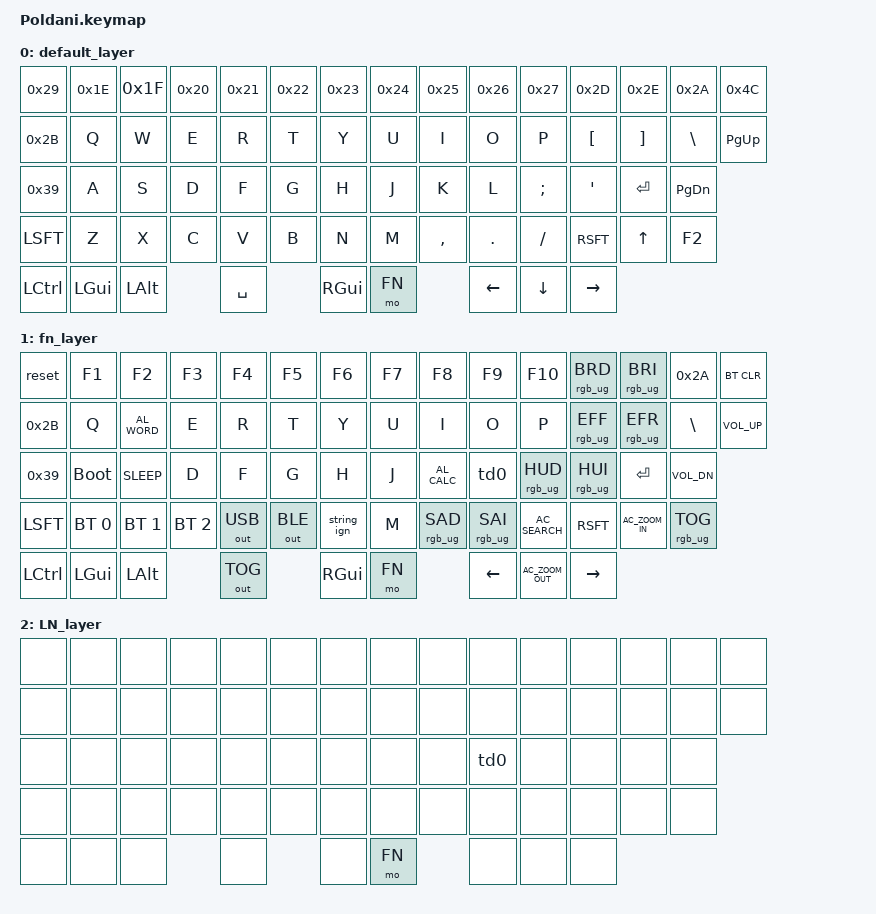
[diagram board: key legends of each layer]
 #include <behaviors.dtsi>
#include <dt-bindings/zmk/keys.h>
#include <dt-bindings/zmk/bt.h>
#include <dt-bindings/zmk/outputs.h>
#include <dt-bindings/zmk/rgb.h>
#include <dt-bindings/zmk/ext_power.h>

#define DEFAULT 0
#define FN 1
#define LN 2
/ {
	behaviors {
        td0: tap_dance_0 {
            compatible = "zmk,behavior-tap-dance";
            label = "TAP_DANCE_0";
            #binding-cells = <0>;
            tapping-term-ms = <200>;
            bindings = <&none>, <&none>, <&tog LN>;
        };
		ZMK_MACRO(string_ign,
			wait-ms = <10>;
			tap-ms = <1>;
			bindings = <&kp N &kp TAB &kp N &kp TAB &kp N &kp TAB &kp N &kp TAB &kp N &kp TAB>;
			)
    };
	
	keymap {
		compatible = "zmk,keymap";
		default_layer {
// ------------------------------------------------------------------------------------------
// | ESC |  1  |  2  |  3  |  4  |  5  |  6  |  7  |  8  |  9  |  0  |  -  |  =  | BKSP |  DEL |
// |RALT/TAB| Q |  W  |  E  |  R  |  T  |  Y  |  U  |  I  |  O  |  P  |  [  |  ]  |  \  |  PGUP  |
// | CAPS  |  A  |  S  |  D  |  F  |  G  |  H  |  J  |  K  |  L  |  ;  |  '  |  ENTER  |  PGDN  |
// | SHIFT | Z |  X  |  C  |  V  |  B  |  N  |  M  |  ,  |  .  |  /  |    Shift   | UP |  END  |
// |  LCTL  |  LWIN  |  LALT  |  SPACE  |  RWIN | FN | LEFT |  DOWN  |  RIGHT  |
// ------------------------------------------------------------------------------------------- 
			bindings = <
	&kp 0x29	 &kp 0x1E 	&kp 0x1F	&kp 0x20 	&kp 0x21  &kp 0x22  &kp 0x23 	&kp 0x24 	&kp 0x25  &kp 0x26	&kp 0x27	&kp 0x2D	&kp 0x2E  	&kp 0x2A	&kp 0x4C
	&kp 0x2B     &kp   Q   	&kp   W   	&kp   E   	&kp   R   &kp   T   &kp   Y   	&kp   U   	&kp   I   &kp   O   &kp   P   	&kp LBKT 	&kp RBKT	&kp BSLH    &kp PG_UP
	&kp 0x39 	 &kp   A   	&kp   S   	&kp   D   	&kp   F   &kp   G   &kp   H   	&kp   J   	&kp   K   &kp   L   &kp  SCLN  	&kp  QUOT   &kp RET		&kp PG_DN
	&kp LSFT 	 &kp   Z   	&kp   X   	&kp   C     &kp   V   &kp   B   &kp   N   	&kp   M     &kp  CMMA &kp  DOT  &kp  FSLH	&kp RSFT 	&kp UP      &kp F2
	&kp LCTL 	 &kp LGUI   &kp LALT				&kp SPC			    &kp RGUI	&mo  FN  			  &kp  LEFT	&kp  DOWN 	&kp RIGHT			
			>;
		};
		
		fn_layer {
// Function layer
// ------------------------------------------------------------------------------------------
// | Reset |  F1  |  F2  |  F3  |  F4  |  F5  |  F6  |  F7  |  F8  |  F9  |  F10  |  rgb brt dwn  |  rgb brt up  | BKSP |  DEL |
// |RALT/TAB| Q |  W  |  E  |  R  |  T  |  Y  |  U  |  I  |  O  |  P  |  [  |  ]  |  \  |  VLUP  |
// | CAPS  |  Bootloader  |  Sleep  |  D  |  F  |  G  |  H  |  J  |  K  |  Lock  |  ;  |  '  |  ENTER  |  VLDN  |
// | SHIFT | BT0 |  BT1  |  BT2  |  USB  |  BT  |  N  |  M  |  ,  |  .  |  /  |    Shift   | UP |  END  |
// |  LCTL  |  LWIN  |  LALT  |  Toggleoutput  |  RWIN | FN | LEFT |  DOWN  |  RIGHT  |
			bindings = <
	&reset	 &kp F1 	&kp F2	&kp F3 	&kp F4  &kp F5  &kp F6 	&kp F7 	&kp F8  &kp F9	&kp F10	&rgb_ug RGB_BRD	&rgb_ug RGB_BRI  	&kp 0x2A	&bt BT_CLR
	&kp 0x2B     &kp   Q   	&kp   C_AL_WORD   	&kp   E   	&kp   R   &kp   T   &kp   Y   	&kp   U   	&kp   I   &kp   O   &kp   P   	&rgb_ug RGB_EFF 	&rgb_ug RGB_EFR	&kp BSLH    &kp C_VOL_UP
	&kp 0x39 	 &bootloader   	&kp K_SLEEP   	&kp   D   	&kp   F   &kp   G   &kp   H   	&kp   J   	&kp   C_AL_CALC   &td0   &rgb_ug RGB_HUD  	&rgb_ug RGB_HUI   &kp RET		&kp C_VOL_DN
	&kp LSFT 	 &bt   BT_SEL 0   	&bt   BT_SEL 1   	&bt  BT_SEL 2   &out  OUT_USB   &out OUT_BLE    &string_ign    	&kp   M     &rgb_ug RGB_SAD &rgb_ug RGB_SAI  &kp  C_AC_SEARCH	&kp RSFT 	&kp C_AC_ZOOM_IN      &rgb_ug RGB_TOG
	&kp LCTL 	 &kp LGUI   &kp LALT				&out OUT_TOG			    &kp RGUI	&mo  FN  			  &kp  LEFT	&kp  C_AC_ZOOM_OUT 	&kp RIGHT	
			>;
		};
		LN_layer {
// Function layer
// ------------------------------------------------------------------------------------------
// | Reset |  F1  |  F2  |  F3  |  F4  |  F5  |  F6  |  F7  |  F8  |  F9  |  F10  |  rgb brt dwn  |  rgb brt up  | BKSP |  DEL |
// |RALT/TAB| Q |  W  |  E  |  R  |  T  |  Y  |  U  |  I  |  O  |  P  |  [  |  ]  |  \  |  VLUP  |
// | CAPS  |  Bootloader  |  Sleep  |  D  |  F  |  G  |  H  |  J  |  K  |  Lock  |  ;  |  '  |  ENTER  |  VLDN  |
// | SHIFT | BT0 |  BT1  |  BT2  |  USB  |  BT  |  N  |  M  |  ,  |  .  |  /  |    Shift   | UP |  END  |
// |  LCTL  |  LWIN  |  LALT  |  Toggleoutput  |  RWIN | FN | LEFT |  DOWN  |  RIGHT  |
			bindings = <
	&none	 &none 	&none	&none 	&none  &none  &none 	&none 	&none  &none	&none	&none	&none  	&none	&none
	&none     &none   	&none   	&none   	&none   &none   &none   	&none   	&none   &none   &none   	&none 	&none	&none    &none
	&none 	 &none   	&none   	&none   	&none   &none   &none   	&none   	&none   &td0    &none  	&none   &none		&none
	&none 	 &none   	&none   	&none   &none   &none    &none   	&none     &none &none  &none	&none	&none      &none
	&none 	 &none   &none				&none			    &none	&mo FN  			  &none	&none 	&none	
			>;
		};
	};
};
